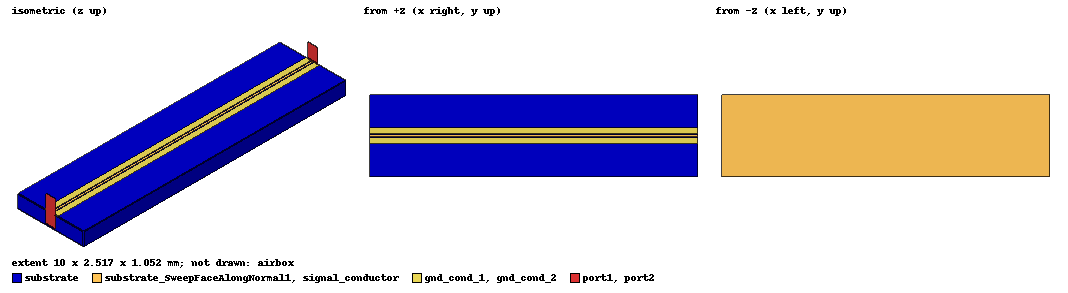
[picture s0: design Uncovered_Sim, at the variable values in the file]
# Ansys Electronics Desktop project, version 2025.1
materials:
  vacuum: permittivity=1
  sapphire: permittivity=9.4 dielectric_loss_tangent=2e-05
  air: permittivity=1.0006 permeability=1.0000004
  gold: permeability=0.99996 conductivity=41000000
  gallium_arsenide: permittivity=12.9
  pec: conductivity=1e+30

design Uncovered_Sim (HFSS, HFSS Terminal Network, model units mm)
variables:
  subx = 10mm
  suby = s + 2*(g+gnd_width) + 2000um
  subz = 500um
  s = 60um
  g = 28.5um
  gnd_width = 200um
  Tmet = 2um
  air_box_h = subz + 15000um
  porty = 3*(2*g+s)
  portz = 2*subz
  airx = subx
  airy = suby+15000um
  abpillarx = 20um
  abpillary = 20um
  abpillarz = 4um
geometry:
  substrate [sapphire] = box(corner=(-subx/2, -suby/2, 0mm), size=(subx, suby, subz))
  signal_dummy [vacuum, non-model] = substrate.section(plane=ZX)
  signal_dummy.thicken(s, both sides)
  gap_dummy1 [vacuum, non-model] = sweep_along_normal(signal_dummy.face(at (0, -0.03, 0.25)), length=g)
  gap_dummy2 [vacuum, non-model] = sweep_along_normal(signal_dummy.face(at (0, 0.03, 0.25)), length=g)
  gnd_dummy1 [vacuum, non-model] = sweep_along_normal(gap_dummy1.face(at (0, -0.0585, 0.25)), length=gnd_width)
  gnd_dummy2 [vacuum, non-model] = sweep_along_normal(gap_dummy2.face(at (0, 0.0585, 0.25)), length=gnd_width)
  signal_conductor [gold] = sweep_along_normal(signal_dummy.face(at (0, 0, 0.5)), length=Tmet)
  gnd_cond_1 [gold] = sweep_along_normal(gnd_dummy1.face(at (0, -0.1585, 0.5)), length=Tmet)
  gnd_cond_2 [gold] = sweep_along_normal(gnd_dummy2.face(at (0, 0.1585, 0.5)), length=Tmet)
  port1 = rectangle(corner=(subx/2, -porty/2, 50um), y_size=porty, z_size=portz)
  port2 = rectangle(corner=(-subx/2, -porty/2, 50um), y_size=porty, z_size=portz)
  airbox [air] = box(corner=(-airx/2, -airy/2, -air_box_h/2), size=(airx, airy, air_box_h))
  airbridge1 [gold, non-model] = box(corner=(2mm, 0mm, 0mm), size=(abpillarx, abpillary, abpillarz))
  Box3 = box(corner=(2mm+abpillarx +2*g+s, 0mm, 0mm), size=(abpillarx, abpillary, abpillarz))
  Box4 = box(corner=(2mm, 0.02mm -abpillary, 0.004mm), size=(2*abpillarx +2*g+s, abpillary, 2um))
  airbridge1.unite(Box3, Box4)
  airbridge1.move(-2mm, 0mm, subz+Tmet)
  airbridge1.rotate(axis=Z, angle=90deg)
  airbridge1.move(0.01mm, -0.0785mm, 0mm)
  airbridge3 [gold, non-model] = box(corner=(2mm, 0mm, 0mm), size=(abpillarx, abpillary, abpillarz))
  Box6 = box(corner=(2mm+abpillarx +2*g+s, 0mm, 0mm), size=(abpillarx, abpillary, abpillarz))
  Box7 = box(corner=(2mm, 0.02mm -abpillary, 0.004mm), size=(2*abpillarx +2*g+s, abpillary, 2um))
  airbridge3.unite(Box6, Box7)
  airbridge3.move(-2mm, 0mm, subz+Tmet)
  airbridge3.rotate(axis=Z, angle=90deg)
  airbridge3.move(0.01mm, -0.0785mm, 0mm)
  airbridge2 [gold, non-model] = box(corner=(2mm, 0mm, 0mm), size=(abpillarx, abpillary, abpillarz))
  Box9 = box(corner=(2mm+abpillarx +2*g+s, 0mm, 0mm), size=(abpillarx, abpillary, abpillarz))
  Box10 = box(corner=(2mm, 0.02mm -abpillary, 0.004mm), size=(2*abpillarx +2*g+s, abpillary, 2um))
  airbridge2.unite(Box9, Box10)
  airbridge2.move(-2mm, 0mm, subz+Tmet)
  airbridge2.rotate(axis=Z, angle=90deg)
  airbridge2.move(0.01mm, -0.0785mm, 0mm)
  airbridge2.move(-350um, 0mm, 0mm)
  airbridge3.move(350um, 0mm, 0mm)
  airbridge4 [gold, non-model] = box(corner=(2mm, 0mm, 0mm), size=(abpillarx, abpillary, abpillarz))
  Box11 = box(corner=(2mm+abpillarx +2*g+s, 0mm, 0mm), size=(abpillarx, abpillary, abpillarz))
  Box12 = box(corner=(2mm, 0.02mm -abpillary, 0.004mm), size=(2*abpillarx +2*g+s, abpillary, 2um))
  airbridge4.unite(Box11, Box12)
  airbridge4.move(-2mm, 0mm, subz+Tmet)
  airbridge4.rotate(axis=Z, angle=90deg)
  airbridge4.move(0.01mm, -0.0785mm, 0mm)
  airbridge5 [gold, non-model] = box(corner=(2mm, 0mm, 0mm), size=(abpillarx, abpillary, abpillarz))
  Box13 = box(corner=(2mm+abpillarx +2*g+s, 0mm, 0mm), size=(abpillarx, abpillary, abpillarz))
  Box14 = box(corner=(2mm, 0.02mm -abpillary, 0.004mm), size=(2*abpillarx +2*g+s, abpillary, 2um))
  airbridge5.unite(Box13, Box14)
  airbridge5.move(-2mm, 0mm, subz+Tmet)
  airbridge5.rotate(axis=Z, angle=90deg)
  airbridge5.move(0.01mm, -0.0785mm, 0mm)
  airbridge4.move(-700um, 0mm, 0mm)
  airbridge5.move(700um, 0mm, 0mm)
  airbridge6 [gold, non-model] = box(corner=(2mm, 0mm, 0mm), size=(abpillarx, abpillary, abpillarz))
  Box15 = box(corner=(2mm+abpillarx +2*g+s, 0mm, 0mm), size=(abpillarx, abpillary, abpillarz))
  Box16 = box(corner=(2mm, 0.02mm -abpillary, 0.004mm), size=(2*abpillarx +2*g+s, abpillary, 2um))
  airbridge6.unite(Box15, Box16)
  airbridge6.move(-2mm, 0mm, subz+Tmet)
  airbridge6.rotate(axis=Z, angle=90deg)
  airbridge6.move(0.01mm, -0.0785mm, 0mm)
  airbridge6.move(-1050um, 0mm, 0mm)
  airbridge7 [gold, non-model] = box(corner=(2mm, 0mm, 0mm), size=(abpillarx, abpillary, abpillarz))
  Box17 = box(corner=(2mm+abpillarx +2*g+s, 0mm, 0mm), size=(abpillarx, abpillary, abpillarz))
  Box18 = box(corner=(2mm, 0.02mm -abpillary, 0.004mm), size=(2*abpillarx +2*g+s, abpillary, 2um))
  airbridge7.unite(Box17, Box18)
  airbridge7.move(-2mm, 0mm, subz+Tmet)
  airbridge7.rotate(axis=Z, angle=90deg)
  airbridge7.move(0.01mm, -0.0785mm, 0mm)
  airbridge7.move(1050um, 0mm, 0mm)
  substrate_SweepFaceAlongNormal1 [gold] = sweep_along_normal(substrate.face(-z), length=2um)
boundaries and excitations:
  Rad1: Radiation Faces=airbox.face(-y, +z, -z, +y)
  Rad2: Radiation Faces=airbox.face(+x, -x)
  PerfE1: Perfect E Faces=substrate_SweepFaceAlongNormal1.face(at (0, 0, -0.002))
  1: Wave Port Objects=port1 WavePortType=Modal NumModes=1 Modes{Mode1{IntLine{(5, 0.03, 0.502) -> (5, 0.0585, 0.502)} CharImp=Zpv RenormImp=50ohm}}
  2: Wave Port Objects=port2 WavePortType=Modal NumModes=1 Modes{Mode1{IntLine{(-5, 0.03, 0.502) -> (-5, 0.0585, 0.502)} CharImp=Zpv RenormImp=50ohm}}
  reference conductors: gnd_cond_1, gnd_cond_2
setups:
  broadband: HfssDriven MultipleAdaptiveFreqsSetup{Low=5GHz High=40GHz} MaxDeltaS=0.02 MaximumPasses=15 MinimumPasses=1 MinimumConvergedPasses=1 PercentRefinement=30 BasisOrder=1 PortAccuracy=0.1 UseABCOnPort DrivenSolverType="Direct Solver"
    sweep Sweep: 5GHz to 50GHz, 2801 points; Type=Interpolating InterpTolerance=0.5 InterpMaxSolns=250 PassivityErrorTolerance=0.0001
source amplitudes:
  1:1: 1V 0deg
  2:1: 0V 0deg
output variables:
  Zo = 50*(1 + re(St(signal_conductor_T1,signal_conductor_T1)))/(1-re(St(signal_conductor_T1,signal_conductor_T1)))
  lost_power_fraction = 1-(mag(St(1,1))^2 + mag(St(2,1))^2)
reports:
  Terminal S Parameter Plot1: dB(St(1,1)) vs Freq on broadband : Sweep; markers m1 at 27GHz, m2 at 40GHz, m3 at 32GHz
  Terminal S Parameter Plot2: dB(St(1,2)) vs Freq on broadband : Sweep; markers m1 at 27GHz, m2 at 40GHz
  Terminal S Parameter Chart1: St(1,1) on broadband : Sweep [Freq=all]
  Terminal S Parameter Chart2: St(1,2) on broadband : Sweep [Freq=all]
  Terminal Port Zo Plot1: re(Zot(1,1)) vs Freq on broadband : Sweep; markers MX1 at x=3.35e+10, MX2 at x=2.7e+10, MX3 at x=4e+10
  Output Variables Plot2: lost_power_fraction vs Freq on broadband : Sweep; markers m1 at 27GHz, m2 at 40GHz

design floating_chiplet (HFSS, HFSS Terminal Network, model units mm)
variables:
  subx = 3500um
  suby = s + 2*(g+gnd_width) + 2000um
  subz = 500um
  s = 60um
  g = 28.5um
  gnd_width = 200um
  Tmet = 2um
  air_box_h = subz + 15000um
  porty = 3*(2*g+s)
  portz = 2*subz
  airx = subx
  airy = suby+15000um
  abpillarx = 20um
  abpillary = 20um
  abpillarz = 4um
  pillarh = 45um
  chipx = 1mm
  chipy = 1mm
  chipz = 0.5mm
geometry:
  substrate [sapphire] = box(corner=(-subx/2, -suby/2, 0mm), size=(subx, suby, subz))
  signal_dummy [vacuum, non-model] = substrate.section(plane=ZX)
  signal_dummy.thicken(s, both sides)
  gap_dummy1 [vacuum, non-model] = sweep_along_normal(signal_dummy.face(at (0, -0.03, 0.25)), length=g)
  gap_dummy2 [vacuum, non-model] = sweep_along_normal(signal_dummy.face(at (0, 0.03, 0.25)), length=g)
  gnd_dummy1 [vacuum, non-model] = sweep_along_normal(gap_dummy1.face(at (0, -0.0585, 0.25)), length=gnd_width)
  gnd_dummy2 [vacuum, non-model] = sweep_along_normal(gap_dummy2.face(at (0, 0.0585, 0.25)), length=gnd_width)
  signal_conductor [gold] = sweep_along_normal(signal_dummy.face(at (0, 0, 0.5)), length=Tmet)
  gnd_cond_1 [gold] = sweep_along_normal(gnd_dummy1.face(at (0, -0.1585, 0.5)), length=Tmet)
  gnd_cond_2 [gold] = sweep_along_normal(gnd_dummy2.face(at (0, 0.1585, 0.5)), length=Tmet)
  port1 = rectangle(corner=(subx/2, -porty/2, 50um), y_size=porty, z_size=portz)
  port2 = rectangle(corner=(-subx/2, -porty/2, 50um), y_size=porty, z_size=portz)
  airbox [air] = box(corner=(-airx/2, -airy/2, -air_box_h/2), size=(airx, airy, air_box_h))
  airbridge1 [gold, non-model] = box(corner=(2mm, 0mm, 0mm), size=(abpillarx, abpillary, abpillarz))
  Box3 = box(corner=(2mm+abpillarx +2*g+s, 0mm, 0mm), size=(abpillarx, abpillary, abpillarz))
  Box4 = box(corner=(2mm, 0.02mm -abpillary, 0.004mm), size=(2*abpillarx +2*g+s, abpillary, 2um))
  airbridge1.unite(Box3, Box4)
  airbridge1.move(-2mm, 0mm, subz+Tmet)
  airbridge1.rotate(axis=Z, angle=90deg)
  airbridge1.move(0.01mm, -0.0785mm, 0mm)
  airbridge3 [gold, non-model] = box(corner=(2mm, 0mm, 0mm), size=(abpillarx, abpillary, abpillarz))
  Box6 = box(corner=(2mm+abpillarx +2*g+s, 0mm, 0mm), size=(abpillarx, abpillary, abpillarz))
  Box7 = box(corner=(2mm, 0.02mm -abpillary, 0.004mm), size=(2*abpillarx +2*g+s, abpillary, 2um))
  airbridge3.unite(Box6, Box7)
  airbridge3.move(-2mm, 0mm, subz+Tmet)
  airbridge3.rotate(axis=Z, angle=90deg)
  airbridge3.move(0.01mm, -0.0785mm, 0mm)
  airbridge2 [gold, non-model] = box(corner=(2mm, 0mm, 0mm), size=(abpillarx, abpillary, abpillarz))
  Box9 = box(corner=(2mm+abpillarx +2*g+s, 0mm, 0mm), size=(abpillarx, abpillary, abpillarz))
  Box10 = box(corner=(2mm, 0.02mm -abpillary, 0.004mm), size=(2*abpillarx +2*g+s, abpillary, 2um))
  airbridge2.unite(Box9, Box10)
  airbridge2.move(-2mm, 0mm, subz+Tmet)
  airbridge2.rotate(axis=Z, angle=90deg)
  airbridge2.move(0.01mm, -0.0785mm, 0mm)
  airbridge2.move(-350um, 0mm, 0mm)
  airbridge3.move(350um, 0mm, 0mm)
  airbridge4 [gold, non-model] = box(corner=(2mm, 0mm, 0mm), size=(abpillarx, abpillary, abpillarz))
  Box11 = box(corner=(2mm+abpillarx +2*g+s, 0mm, 0mm), size=(abpillarx, abpillary, abpillarz))
  Box12 = box(corner=(2mm, 0.02mm -abpillary, 0.004mm), size=(2*abpillarx +2*g+s, abpillary, 2um))
  airbridge4.unite(Box11, Box12)
  airbridge4.move(-2mm, 0mm, subz+Tmet)
  airbridge4.rotate(axis=Z, angle=90deg)
  airbridge4.move(0.01mm, -0.0785mm, 0mm)
  airbridge5 [gold, non-model] = box(corner=(2mm, 0mm, 0mm), size=(abpillarx, abpillary, abpillarz))
  Box13 = box(corner=(2mm+abpillarx +2*g+s, 0mm, 0mm), size=(abpillarx, abpillary, abpillarz))
  Box14 = box(corner=(2mm, 0.02mm -abpillary, 0.004mm), size=(2*abpillarx +2*g+s, abpillary, 2um))
  airbridge5.unite(Box13, Box14)
  airbridge5.move(-2mm, 0mm, subz+Tmet)
  airbridge5.rotate(axis=Z, angle=90deg)
  airbridge5.move(0.01mm, -0.0785mm, 0mm)
  airbridge4.move(-700um, 0mm, 0mm)
  airbridge5.move(700um, 0mm, 0mm)
  airbridge6 [gold, non-model] = box(corner=(2mm, 0mm, 0mm), size=(abpillarx, abpillary, abpillarz))
  Box15 = box(corner=(2mm+abpillarx +2*g+s, 0mm, 0mm), size=(abpillarx, abpillary, abpillarz))
  Box16 = box(corner=(2mm, 0.02mm -abpillary, 0.004mm), size=(2*abpillarx +2*g+s, abpillary, 2um))
  airbridge6.unite(Box15, Box16)
  airbridge6.move(-2mm, 0mm, subz+Tmet)
  airbridge6.rotate(axis=Z, angle=90deg)
  airbridge6.move(0.01mm, -0.0785mm, 0mm)
  airbridge6.move(-1050um, 0mm, 0mm)
  airbridge7 [gold, non-model] = box(corner=(2mm, 0mm, 0mm), size=(abpillarx, abpillary, abpillarz))
  Box17 = box(corner=(2mm+abpillarx +2*g+s, 0mm, 0mm), size=(abpillarx, abpillary, abpillarz))
  Box18 = box(corner=(2mm, 0.02mm -abpillary, 0.004mm), size=(2*abpillarx +2*g+s, abpillary, 2um))
  airbridge7.unite(Box17, Box18)
  airbridge7.move(-2mm, 0mm, subz+Tmet)
  airbridge7.rotate(axis=Z, angle=90deg)
  airbridge7.move(0.01mm, -0.0785mm, 0mm)
  airbridge7.move(1050um, 0mm, 0mm)
  substrate_SweepFaceAlongNormal1 [gold] = sweep_along_normal(substrate.face(-z), length=2um)
  GaAs_Chip [gallium_arsenide] = box(corner=(-chipx/2, -chipy/2, subz +Tmet + pillarh), size=(chipx, chipy, chipz))
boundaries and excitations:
  Rad1: Radiation Faces=airbox.face(-y, +z, -z, +y)
  Rad2: Radiation Faces=airbox.face(+x, -x)
  PerfE1: Perfect E Faces=substrate_SweepFaceAlongNormal1.face(at (0, 0, -0.002))
  1: Wave Port Objects=port1 WavePortType=Modal NumModes=1 Modes{Mode1{IntLine{(1.75, 0.03, 0.502) -> (1.75, 0.0585, 0.502)} CharImp=Zpv RenormImp=50ohm}}
  2: Wave Port Objects=port2 WavePortType=Modal NumModes=1 Modes{Mode1{IntLine{(-1.75, 0.03, 0.502) -> (-1.75, 0.0585, 0.502)} CharImp=Zpv RenormImp=50ohm}}
  reference conductors: gnd_cond_1, gnd_cond_2
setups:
  broadband: HfssDriven MultipleAdaptiveFreqsSetup{Low=5GHz High=40GHz} MaxDeltaS=0.02 MaximumPasses=15 MinimumPasses=1 MinimumConvergedPasses=1 PercentRefinement=30 BasisOrder=1 PortAccuracy=0.1 UseABCOnPort DrivenSolverType="Direct Solver"
    sweep Sweep: 5GHz to 50GHz step 0.5GHz; Type=Discrete SaveFields
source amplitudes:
  1:1: 1V 0deg
  2:1: 0V 0deg
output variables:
  Zo = 50*(1 + re(St(signal_conductor_T1,signal_conductor_T1)))/(1-re(St(signal_conductor_T1,signal_conductor_T1)))
  lost_power_fraction = 1-(mag(St(1,1))^2 + mag(St(2,1))^2)
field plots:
  Mag_E1: E Field in GaAs_Chip, substrate, airbox on broadband : Sweep at Freq=27.5GHz Phase=0deg
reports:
  Terminal S Parameter Plot1: dB(St(1,1)) vs Freq on broadband : Sweep; markers m1 at 27GHz, m2 at 40GHz, m3 at 32GHz
  Terminal S Parameter Plot2: dB(St(1,2)) vs Freq on broadband : Sweep; markers m1 at 27GHz, m2 at 40GHz
  Terminal S Parameter Chart1: St(1,1) on broadband : Sweep [Freq=all]
  Terminal S Parameter Chart2: St(1,2) on broadband : Sweep [Freq=all]
  Terminal Port Zo Plot1: re(Zot(1,1)) vs Freq on broadband : Sweep; markers MX1 at x=3.35e+10, MX2 at x=2.7e+10, MX3 at x=4e+10
  Output Variables Plot2: lost_power_fraction vs Freq on broadband : Sweep; markers m1 at 27GHz, m2 at 40GHz
